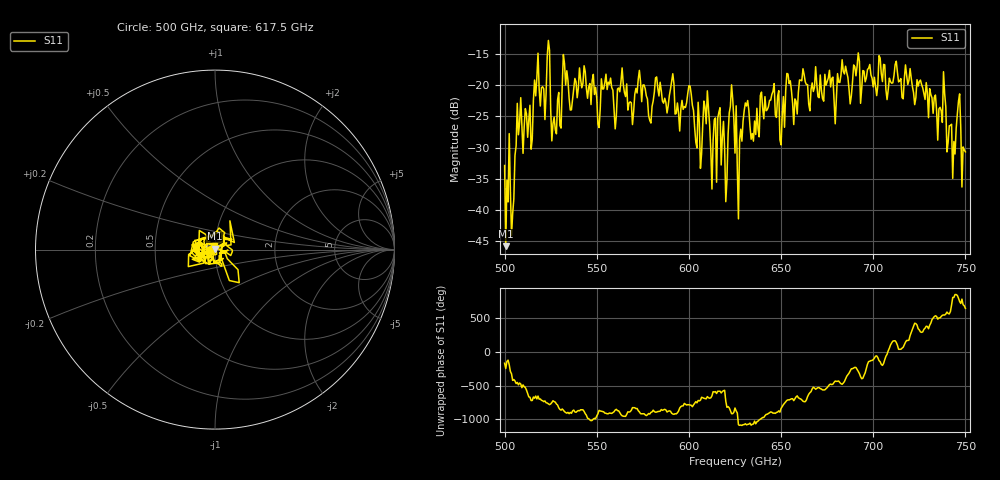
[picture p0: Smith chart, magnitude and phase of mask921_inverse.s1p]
!Created with skrf (http://scikit-rf.org).
# GHz S MA R 50.0
!freq magS11 angS11
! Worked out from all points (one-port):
!   401 points, 500 GHz to 750 GHz, reference 50 ohm
!   lowest |S11| = -45.8 dB at 500.6 GHz (marker M1), VSWR 1.01, Z = 49.8 + j0.467 ohm
!   |S11| at or under -10 dB: start of sweep to end of sweep
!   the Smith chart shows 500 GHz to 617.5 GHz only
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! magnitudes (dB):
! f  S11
! 500 GHz  -32.9
! 500.6 GHz  -45.8
! 504.4 GHz  -40.5
! 507.5 GHz  -27.9
! 513.8 GHz  -23.2
! 517.5 GHz  -18.8
! 523.8 GHz  -12.8
! 526.9 GHz  -25.1
! 531.2 GHz  -20.2
! 562.5 GHz  -21.0
! 590.6 GHz  -19.4
! 593.8 GHz  -22.8
! 600.6 GHz  -20.2
! 605.6 GHz  -25.9
! 609.4 GHz  -26.2
! 619.4 GHz  -30.2
! 622.5 GHz  -23.4
! 625 GHz  -30.9
! 627.5 GHz  -28.7
! 631.2 GHz  -23.3
! 635 GHz  -29.0
! 656.2 GHz  -22.9
! 687.5 GHz  -23.0
! 718.8 GHz  -19.9
! 738.1 GHz  -17.8
! 743.1 GHz  -34.9
! 746.2 GHz  -22.6
! 750 GHz  -30.7
